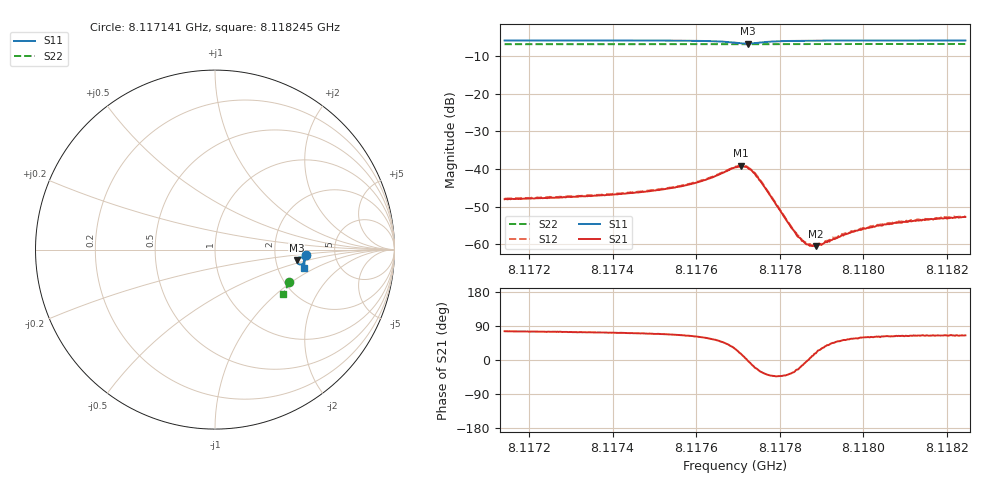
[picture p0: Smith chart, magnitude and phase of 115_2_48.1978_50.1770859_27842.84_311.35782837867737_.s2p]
#  HZ  S  RI  R  50.00
! Rohde & Schwarz Vector Network Analyzer
! Rohde-Schwarz,ZNB20-2Port,1311601062101988,3.16
! Created: UTC 3/20/2024, 11:41:10 AM
! freq[Hz]  re:S11  im:S11  re:S21  im:S21  re:S12  im:S12  re:S22  im:S22
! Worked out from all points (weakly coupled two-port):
!   401 points, 8.117141 GHz to 8.118245 GHz, reference 50 ohm
!   highest |S21| = -39.16 dB at 8.117707 GHz (marker M1); lowest = -60.5 dB at 8.117886 GHz (marker M2)
!   lowest |S11| = -6.7 dB at 8.117723 GHz (marker M3), VSWR 2.70, Z = 132 - j19.6 ohm
!   |S11| at or under -10 dB: nowhere
!   |S22| runs from -6.9 to -6.9 dB; largest |S21 - S12| = 0.00041
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8.1171414e9  0.5051 -0.028  0.000962 0.00386  0.00106 0.00391  0.4142 -0.1788
8.1173262e9  0.5036 -0.0433  0.00125 0.00418  0.0013 0.00421  0.4093 -0.1909
8.1174145e9  0.5023 -0.0512  0.00148 0.00442  0.00154 0.00448  0.4069 -0.1965
8.117511e9  0.4998 -0.061  0.0019 0.0049  0.00202 0.00499  0.4041 -0.2028
8.1175552e9  0.4981 -0.0663  0.00233 0.00528  0.00243 0.00535  0.4027 -0.2057
8.1176021e9  0.4945 -0.0728  0.00313 0.00584  0.00327 0.00593  0.4012 -0.2089
8.1176407e9  0.4881 -0.0791  0.00452 0.00637  0.00466 0.00644  0.3996 -0.2113
8.1176931e9  0.4658 -0.0805  0.00916 0.00517  0.00941 0.00515  0.3972 -0.2143
8.1177069e9  0.4584 -0.0731  0.0105 0.00319  0.0106 0.00301  0.3966 -0.2146
8.1177234e9  0.456 -0.0587  0.0104 -0.000296  0.0105 -0.000448  0.3962 -0.2148
8.1177372e9  0.4622 -0.0482  0.00862 -0.00244  0.00881 -0.00263  0.3962 -0.2154
8.1177538e9  0.4734 -0.0432  0.00598 -0.00353  0.00607 -0.00364  0.3961 -0.2164
8.1178227e9  0.4952 -0.0559  0.00149 -0.00113  0.00147 -0.00117  0.3948 -0.2212
8.117842e9  0.4968 -0.0596  0.00117 -0.000554  0.0012 -0.000581  0.3944 -0.2224
8.1178586e9  0.4975 -0.0625  0.00107 -0.000181  0.00105 -0.000172  0.3938 -0.2236
8.1178779e9  0.4981 -0.0654  0.000934 0.000177  0.00094 0.000205  0.3932 -0.2249
8.1178862e9  0.4982 -0.0665  0.000905 0.00028  0.00096 0.000311  0.3932 -0.2254
8.1179772e9  0.4984 -0.0776  0.000811 0.00124  0.000815 0.00124  0.3901 -0.2313
8.1180213e9  0.498 -0.0819  0.000828 0.00147  0.000881 0.00148  0.3885 -0.2339
8.1180627e9  0.4975 -0.0857  0.000858 0.00164  0.000874 0.00172  0.3871 -0.2365
8.1181592e9  0.4961 -0.0942  0.000934 0.00194  0.00096 0.00194  0.3838 -0.2426
8.1182447e9  0.4949 -0.1011  0.000978 0.0021  0.00101 0.00213  0.3808 -0.2478
